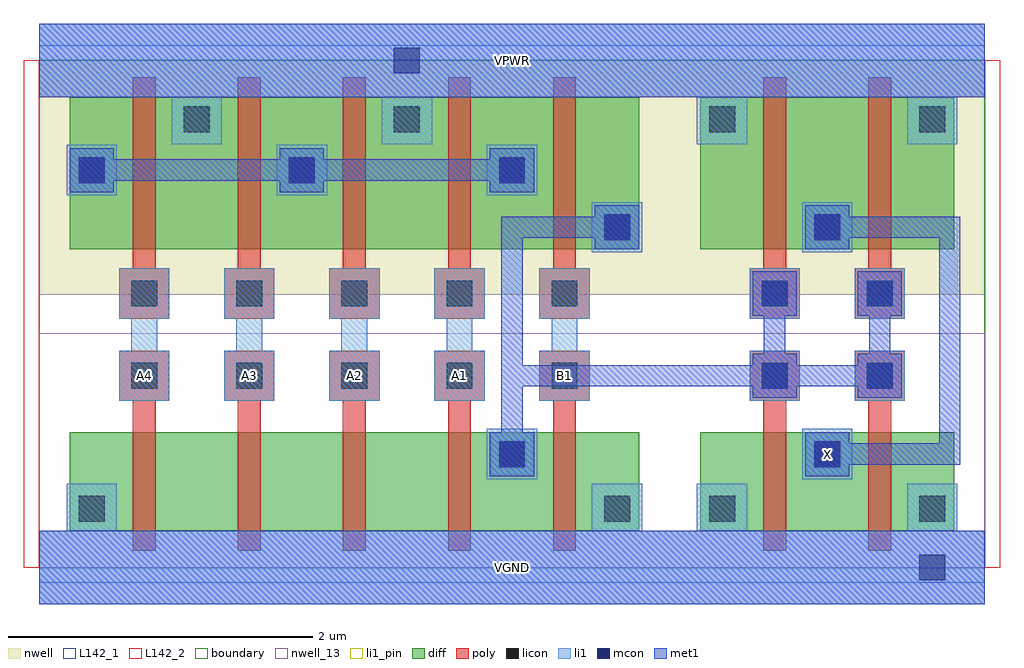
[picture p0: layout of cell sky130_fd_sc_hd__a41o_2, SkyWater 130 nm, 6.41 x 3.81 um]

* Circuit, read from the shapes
.subckt sky130_fd_sc_hd__a41o_2 A1 A2 A3 A4 B1 VGND VPWR X
XM1 n1 A4 VGND VSUBS sky130_fd_pr__nfet_01v8 w=0.65 l=0.15
XM2 n2 A3 n1 VSUBS sky130_fd_pr__nfet_01v8 w=0.65 l=0.15
XM3 n3 A2 n2 VSUBS sky130_fd_pr__nfet_01v8 w=0.65 l=0.15
XM4 n4 A1 n3 VSUBS sky130_fd_pr__nfet_01v8 w=0.65 l=0.15
XM5 VGND B1 n4 VSUBS sky130_fd_pr__nfet_01v8 w=0.65 l=0.15
XM6 X n4 VGND VSUBS sky130_fd_pr__nfet_01v8 w=0.65 l=0.15 m=2
XM7 VPWR A4 n5 n6 sky130_fd_pr__pfet_01v8 w=1 l=0.15
XM8 n5 A3 VPWR n6 sky130_fd_pr__pfet_01v8 w=1 l=0.15
XM9 VPWR A2 n5 n6 sky130_fd_pr__pfet_01v8 w=1 l=0.15
XM10 n5 A1 VPWR n6 sky130_fd_pr__pfet_01v8 w=1 l=0.15
XM11 n4 B1 n5 n6 sky130_fd_pr__pfet_01v8 w=1 l=0.15
XM12 X n4 VPWR n6 sky130_fd_pr__pfet_01v8 w=1 l=0.15 m=2
.ends

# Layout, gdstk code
import gdstk
lib = gdstk.Library(unit=1e-6, precision=1e-09)
def R(c, l, rs):  # rectangles x0, y0, x1, y1
    for r in rs: c.add(gdstk.rectangle(r[:2], r[2:], *l))
def A(c, l, x, y, w, h, nx, ny, dx, dy):  # array of equal rectangles
    R(c, l, [(x+i*dx, y+j*dy, x+i*dx+w, y+j*dy+h) for i in range(nx) for j in range(ny)])
def P(c, l, *ps):  # polygons
    for p in ps: c.add(gdstk.Polygon(p, *l))
nwell_13 = (64, 13)
nwell = (64, 20)
diff = (65, 20)
poly = (66, 20)
licon = (66, 44)
li1_pin = (67, 16)
li1 = (67, 20)
mcon = (67, 44)
met1 = (68, 20)
L142_1 = (142, 1)
L142_2 = (142, 2)
boundary = (235, 4)

sky130_fd_sc_hd__a41o_2 = lib.new_cell('sky130_fd_sc_hd__a41o_2')
R(sky130_fd_sc_hd__a41o_2, nwell_13, [(0,0,6.21,1.54)])
R(sky130_fd_sc_hd__a41o_2, nwell, [(0,1.79,6.21,3.33)])
A(sky130_fd_sc_hd__a41o_2, diff, 0.615, 0.24, 0.69, 0.65, 4, 1, 0.69, 0)
A(sky130_fd_sc_hd__a41o_2, diff, 0.615, 2.09, 0.69, 1, 4, 1, 0.69, 0)
R(sky130_fd_sc_hd__a41o_2, diff, [(0.2,0.24,3.94,0.89), (0.2,0.24,0.615,0.89), (3.375,0.24,3.94,0.89), (4.34,0.24,6.01,0.89), (4.34,0.24,4.755,0.89), (4.755,0.24,5.445,0.89), (5.445,0.24,6.01,0.89), (0.2,2.09,3.94,3.09), (0.2,2.09,0.615,3.09), (3.375,2.09,3.94,3.09), (4.34,2.09,6.01,3.09), (4.34,2.09,4.755,3.09), (4.755,2.09,5.445,3.09), (5.445,2.09,6.01,3.09)])
P(sky130_fd_sc_hd__a41o_2, poly, [(4.755,0.11),(4.755,1.095),(4.665,1.095),(4.665,1.425),(4.995,1.425),(4.995,1.095),(4.905,1.095),(4.905,0.11)],
  [(5.445,0.11),(5.445,1.095),(5.355,1.095),(5.355,1.425),(5.685,1.425),(5.685,1.095),(5.595,1.095),(5.595,0.11)],
  [(4.665,1.635),(4.665,1.965),(4.755,1.965),(4.755,3.22),(4.905,3.22),(4.905,1.965),(4.995,1.965),(4.995,1.635)],
  [(5.355,1.635),(5.355,1.965),(5.445,1.965),(5.445,3.22),(5.595,3.22),(5.595,1.965),(5.685,1.965),(5.685,1.635)],
  [(1.995,0.11),(1.995,1.095),(1.905,1.095),(1.905,1.425),(2.235,1.425),(2.235,1.095),(2.145,1.095),(2.145,0.11)],
  [(1.905,1.635),(1.905,1.965),(1.995,1.965),(1.995,3.22),(2.145,3.22),(2.145,1.965),(2.235,1.965),(2.235,1.635)],
  [(2.685,0.11),(2.685,1.095),(2.595,1.095),(2.595,1.425),(2.925,1.425),(2.925,1.095),(2.835,1.095),(2.835,0.11)],
  [(2.595,1.635),(2.595,1.965),(2.685,1.965),(2.685,3.22),(2.835,3.22),(2.835,1.965),(2.925,1.965),(2.925,1.635)],
  [(0.615,0.11),(0.615,1.095),(0.525,1.095),(0.525,1.425),(0.855,1.425),(0.855,1.095),(0.765,1.095),(0.765,0.11)],
  [(0.525,1.635),(0.525,1.965),(0.615,1.965),(0.615,3.22),(0.765,3.22),(0.765,1.965),(0.855,1.965),(0.855,1.635)],
  [(1.305,0.11),(1.305,1.095),(1.215,1.095),(1.215,1.425),(1.545,1.425),(1.545,1.095),(1.455,1.095),(1.455,0.11)],
  [(1.215,1.635),(1.215,1.965),(1.305,1.965),(1.305,3.22),(1.455,3.22),(1.455,1.965),(1.545,1.965),(1.545,1.635)],
  [(3.375,0.11),(3.375,1.095),(3.285,1.095),(3.285,1.425),(3.615,1.425),(3.615,1.095),(3.525,1.095),(3.525,0.11)],
  [(3.285,1.635),(3.285,1.965),(3.375,1.965),(3.375,3.22),(3.525,3.22),(3.525,1.965),(3.615,1.965),(3.615,1.635)])
A(sky130_fd_sc_hd__a41o_2, licon, 0.605, 1.175, 0.17, 0.17, 5, 2, 0.69, 0.54)
A(sky130_fd_sc_hd__a41o_2, licon, 0.26, 2.525, 0.17, 0.17, 3, 1, 1.38, 0)
R(sky130_fd_sc_hd__a41o_2, licon, [(0.26,0.3,0.43,0.47), (3.71,0.3,3.88,0.47), (4.4,0.3,4.57,0.47), (5.78,0.3,5.95,0.47), (3.02,0.66,3.19,0.83), (5.09,0.66,5.26,0.83), (4.745,1.175,4.915,1.345), (5.435,1.175,5.605,1.345), (4.745,1.715,4.915,1.885), (5.435,1.715,5.605,1.885), (3.71,2.15,3.88,2.32), (5.09,2.15,5.26,2.32), (0.95,2.86,1.12,3.03), (2.33,2.86,2.5,3.03), (4.4,2.86,4.57,3.03), (5.78,2.86,5.95,3.03)])
R(sky130_fd_sc_hd__a41o_2, li1_pin, [(0,-0.24,6.21,0.24), (5.01,0.58,5.34,0.91), (0,3.09,6.21,3.57)])
P(sky130_fd_sc_hd__a41o_2, li1_pin, [(1.905,1.095),(1.905,1.425),(1.985,1.425),(1.985,1.635),(1.905,1.635),(1.905,1.965),(2.235,1.965),(2.235,1.635),(2.155,1.635),(2.155,1.425),(2.235,1.425),(2.235,1.095)],
  [(2.595,1.095),(2.595,1.425),(2.675,1.425),(2.675,1.635),(2.595,1.635),(2.595,1.965),(2.925,1.965),(2.925,1.635),(2.845,1.635),(2.845,1.425),(2.925,1.425),(2.925,1.095)],
  [(0.525,1.095),(0.525,1.425),(0.605,1.425),(0.605,1.635),(0.525,1.635),(0.525,1.965),(0.855,1.965),(0.855,1.635),(0.775,1.635),(0.775,1.425),(0.855,1.425),(0.855,1.095)],
  [(1.215,1.095),(1.215,1.425),(1.295,1.425),(1.295,1.635),(1.215,1.635),(1.215,1.965),(1.545,1.965),(1.545,1.635),(1.465,1.635),(1.465,1.425),(1.545,1.425),(1.545,1.095)],
  [(3.285,1.095),(3.285,1.425),(3.365,1.425),(3.365,1.635),(3.285,1.635),(3.285,1.965),(3.615,1.965),(3.615,1.635),(3.535,1.635),(3.535,1.425),(3.615,1.425),(3.615,1.095)])
A(sky130_fd_sc_hd__a41o_2, li1, 0.18, 2.445, 0.33, 0.33, 3, 1, 1.38, 0)
R(sky130_fd_sc_hd__a41o_2, li1, [(2.94,0.58,3.27,0.91), (5.01,0.58,5.34,0.91), (4.665,1.095,4.995,1.425), (5.355,1.095,5.685,1.425), (4.665,1.635,4.995,1.965), (5.355,1.635,5.685,1.965), (3.63,2.07,3.96,2.4), (5.01,2.07,5.34,2.4)])
P(sky130_fd_sc_hd__a41o_2, li1, [(1.905,1.095),(1.905,1.425),(1.985,1.425),(1.985,1.635),(1.905,1.635),(1.905,1.965),(2.235,1.965),(2.235,1.635),(2.155,1.635),(2.155,1.425),(2.235,1.425),(2.235,1.095)],
  [(0.87,2.78),(0.87,3.09),(0,3.09),(0,3.57),(6.21,3.57),(6.21,3.09),(6.03,3.09),(6.03,2.78),(5.7,2.78),(5.7,3.09),(4.65,3.09),(4.65,2.78),(4.32,2.78),(4.32,3.09),(2.58,3.09),(2.58,2.78),(2.25,2.78),(2.25,3.09),(1.2,3.09),(1.2,2.78)],
  [(2.595,1.095),(2.595,1.425),(2.675,1.425),(2.675,1.635),(2.595,1.635),(2.595,1.965),(2.925,1.965),(2.925,1.635),(2.845,1.635),(2.845,1.425),(2.925,1.425),(2.925,1.095)],
  [(0,-0.24),(0,0.24),(0.18,0.24),(0.18,0.55),(0.51,0.55),(0.51,0.24),(3.63,0.24),(3.63,0.55),(3.96,0.55),(3.96,0.24),(4.32,0.24),(4.32,0.55),(4.65,0.55),(4.65,0.24),(5.7,0.24),(5.7,0.55),(6.03,0.55),(6.03,0.24),(6.21,0.24),(6.21,-0.24)],
  [(0.525,1.095),(0.525,1.425),(0.605,1.425),(0.605,1.635),(0.525,1.635),(0.525,1.965),(0.855,1.965),(0.855,1.635),(0.775,1.635),(0.775,1.425),(0.855,1.425),(0.855,1.095)],
  [(1.215,1.095),(1.215,1.425),(1.295,1.425),(1.295,1.635),(1.215,1.635),(1.215,1.965),(1.545,1.965),(1.545,1.635),(1.465,1.635),(1.465,1.425),(1.545,1.425),(1.545,1.095)],
  [(3.285,1.095),(3.285,1.425),(3.365,1.425),(3.365,1.635),(3.285,1.635),(3.285,1.965),(3.615,1.965),(3.615,1.635),(3.535,1.635),(3.535,1.425),(3.615,1.425),(3.615,1.095)])
A(sky130_fd_sc_hd__a41o_2, mcon, 0.26, 2.525, 0.17, 0.17, 3, 1, 1.38, 0)
R(sky130_fd_sc_hd__a41o_2, mcon, [(5.78,-0.085,5.95,0.085), (3.02,0.66,3.19,0.83), (5.09,0.66,5.26,0.83), (4.745,1.175,4.915,1.345), (5.435,1.175,5.605,1.345), (4.745,1.715,4.915,1.885), (5.435,1.715,5.605,1.885), (3.71,2.15,3.88,2.32), (5.09,2.15,5.26,2.32), (2.33,3.245,2.5,3.415)])
R(sky130_fd_sc_hd__a41o_2, met1, [(0,-0.24,6.21,0.24), (0,3.09,6.21,3.57)])
P(sky130_fd_sc_hd__a41o_2, met1, [(2.96,0.6),(2.96,0.89),(3.035,0.89),(3.035,2.305),(3.65,2.305),(3.65,2.38),(3.94,2.38),(3.94,2.09),(3.65,2.09),(3.65,2.165),(3.175,2.165),(3.175,1.33),(4.685,1.33),(4.685,1.405),(4.76,1.405),(4.76,1.655),(4.685,1.655),(4.685,1.945),(4.975,1.945),(4.975,1.655),(4.9,1.655),(4.9,1.405),(4.975,1.405),(4.975,1.33),(5.375,1.33),(5.375,1.405),(5.45,1.405),(5.45,1.655),(5.375,1.655),(5.375,1.945),(5.665,1.945),(5.665,1.655),(5.59,1.655),(5.59,1.405),(5.665,1.405),(5.665,1.115),(5.375,1.115),(5.375,1.19),(4.975,1.19),(4.975,1.115),(4.685,1.115),(4.685,1.19),(3.175,1.19),(3.175,0.89),(3.25,0.89),(3.25,0.6)],
  [(0.2,2.465),(0.2,2.755),(0.49,2.755),(0.49,2.68),(1.58,2.68),(1.58,2.755),(1.87,2.755),(1.87,2.68),(2.96,2.68),(2.96,2.755),(3.25,2.755),(3.25,2.465),(2.96,2.465),(2.96,2.54),(1.87,2.54),(1.87,2.465),(1.58,2.465),(1.58,2.54),(0.49,2.54),(0.49,2.465)],
  [(5.03,0.6),(5.03,0.89),(5.32,0.89),(5.32,0.815),(5.91,0.815),(5.91,2.165),(5.32,2.165),(5.32,2.09),(5.03,2.09),(5.03,2.38),(5.32,2.38),(5.32,2.305),(6.05,2.305),(6.05,0.675),(5.32,0.675),(5.32,0.6)])
R(sky130_fd_sc_hd__a41o_2, L142_1, [(0,-0.1,6.21,0), (0,3.33,6.21,3.43)])
R(sky130_fd_sc_hd__a41o_2, L142_2, [(-0.1,0,0,3.33), (6.21,0,6.31,3.33)])
R(sky130_fd_sc_hd__a41o_2, boundary, [(0,0,6.21,3.33)])
sky130_fd_sc_hd__a41o_2.add(gdstk.Label('X', (5.175,0.745), layer=67, texttype=5))
sky130_fd_sc_hd__a41o_2.add(gdstk.Label('A2', (2.07,1.26), layer=67, texttype=5))
sky130_fd_sc_hd__a41o_2.add(gdstk.Label('A1', (2.76,1.26), layer=67, texttype=5))
sky130_fd_sc_hd__a41o_2.add(gdstk.Label('A4', (0.69,1.26), layer=67, texttype=5))
sky130_fd_sc_hd__a41o_2.add(gdstk.Label('A3', (1.38,1.26), layer=67, texttype=5))
sky130_fd_sc_hd__a41o_2.add(gdstk.Label('B1', (3.45,1.26), layer=67, texttype=5))
sky130_fd_sc_hd__a41o_2.add(gdstk.Label('VGND', (3.105,0), layer=67, texttype=5))
sky130_fd_sc_hd__a41o_2.add(gdstk.Label('VPWR', (3.105,3.33), layer=67, texttype=5))
sky130_fd_sc_hd__a41o_2.add(gdstk.Label('VGND', (3.105,0), layer=68, texttype=5))
sky130_fd_sc_hd__a41o_2.add(gdstk.Label('VPWR', (3.105,3.33), layer=68, texttype=5))

lib.write_gds('sky130_fd_sc_hd__a41o_2.gds')
